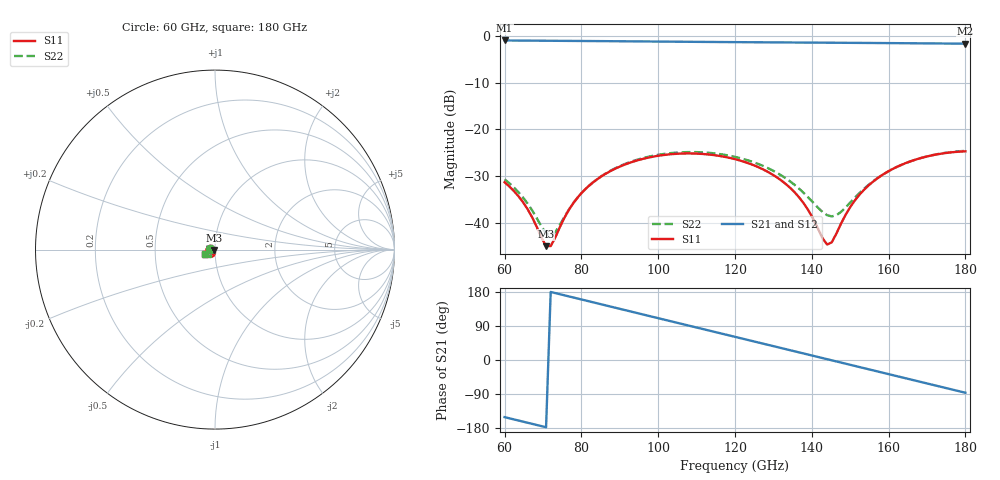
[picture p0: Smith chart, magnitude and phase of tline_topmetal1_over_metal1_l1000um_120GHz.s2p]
#  GHZ S DB R 50
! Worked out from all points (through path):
!   101 points, 60 GHz to 180 GHz, reference 50 ohm
!   highest |S21| = -1.01 dB at 60 GHz (marker M1); lowest = -1.7 dB at 180 GHz (marker M2)
!   group delay of S21, straight-line fit = 6.84 ps
!   lowest |S11| = -45.0 dB at 70.8 GHz (marker M3), VSWR 1.01, Z = 49.5 - j0.237 ohm
!   |S11| at or under -10 dB: start of sweep to end of sweep
!   |S22| runs from -42.8 to -24.6 dB; largest |S21 - S12| = 9.9e-14
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60  -31.32 171.1  -1.01 -150.8  -1.01 -150.8  -30.69 174.5
66  -37.10 165.7  -1.05 -165.6  -1.05 -165.6  -35.89 170.5
70.8  -44.99 -154.9  -1.07 -177.5  -1.07 -177.5  -42.25 -159.1
72  -44.96 -128.6  -1.08 179.6  -1.08 179.6  -42.77 -139.9
73.2  -43.14 -108.5  -1.09 176.6  -1.09 176.6  -41.98 -121.5
76.8  -37.14 -89.8  -1.11 167.7  -1.11 167.7  -37.09 -96.4
80.4  -33.31 -90.9  -1.13 158.8  -1.13 158.8  -33.32 -94.2
88.8  -28.42 -106.5  -1.18 138.0  -1.18 138.0  -28.34 -106.8
100.8  -25.57 -134.6  -1.25 108.4  -1.25 108.4  -25.35 -133.0
110.4  -25.22 -157.6  -1.31 84.7  -1.31 84.7  -24.90 -154.7
120  -26.39 180.0  -1.37 61.1  -1.37 61.1  -25.90 -175.3
126  -28.08 166.9  -1.40 46.4  -1.40 46.4  -27.39 173.3
132  -30.91 155.5  -1.43 31.6  -1.43 31.6  -29.83 164.5
136.8  -34.66 150.4  -1.46 19.8  -1.46 19.8  -32.77 162.6
140.4  -39.21 155.4  -1.47 11.0  -1.47 11.0  -35.71 169.1
144  -44.65 -162.6  -1.49 2.1  -1.49 2.1  -38.37 -168.8
145.2  -44.17 -138.1  -1.50 -0.8  -1.50 -0.8  -38.63 -157.7
148.8  -38.28 -105.5  -1.52 -9.7  -1.52 -9.7  -36.72 -129.6
152.4  -34.00 -102.6  -1.53 -18.6  -1.53 -18.6  -33.64 -118.9
160.8  -28.60 -114.8  -1.58 -39.2  -1.58 -39.2  -28.61 -122.3
170.4  -25.74 -134.9  -1.64 -62.8  -1.64 -62.8  -25.72 -138.7
180  -24.72 -156.2  -1.70 -86.4  -1.70 -86.4  -24.62 -157.8
